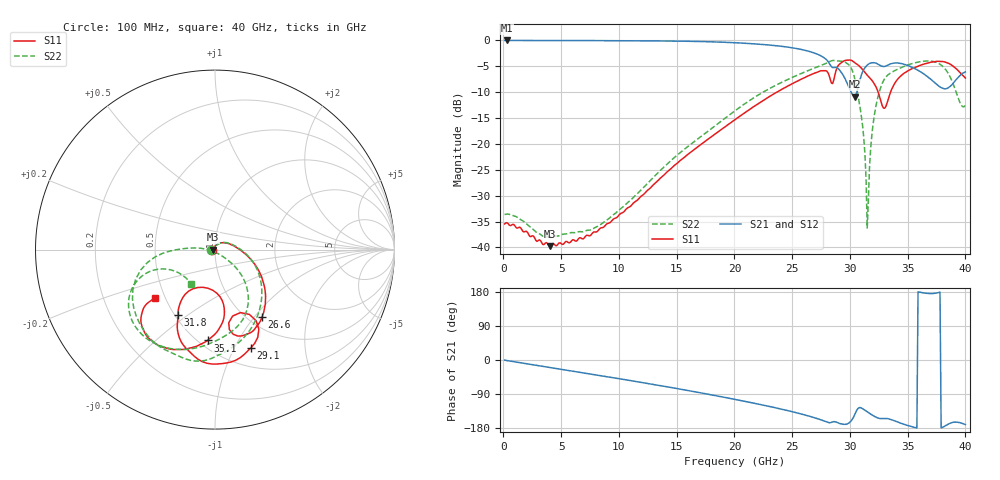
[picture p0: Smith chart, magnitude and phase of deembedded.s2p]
! BV_ts_refinout2: kisi-fdtd, 2-port, de-embedded with the 2×thru of each side (NZC with the outer ports
! referred to the line impedances 64.4 / 61.9 Ω, sparam.deembed_matched), the via between ideal 50 Ω lines
# Hz S RI R 50
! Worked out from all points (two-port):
!   400 points, 100 MHz to 40 GHz, reference 50 ohm
!   highest |S21| = -0.13 dB at 300 MHz (marker M1); lowest = -10.9 dB at 30.4 GHz (marker M2)
!   |S21| within 3 dB of the highest: start of sweep to 27.52 GHz
!   lowest |S11| = -39.7 dB at 4 GHz (marker M3), VSWR 1.02, Z = 49 + j0.0464 ohm
!   |S11| at or under -10 dB: start of sweep to 23.75 GHz; 32.43 GHz to 33.53 GHz (1.105 GHz wide, 3.35 % of centre)
!   |S22| runs from -38.1 to -4.0 dB; largest |S21 - S12| = 0.002
!   S11 on the Smith chart (normalised r, x): 100 MHz: 0.97, -0.00; 26.6 GHz: 1.15, -1.10; 29.1 GHz: 0.71, -1.17; 31.8 GHz: 0.52, -0.46; 35.1 GHz: 0.55, -0.76; 40 GHz: 0.44, -0.29
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1e8  -0.0168 -0.000384  0.9845 -0.00834  0.9843 -0.00816  -0.0208 0.000232
3e8  -0.0173 0.00061  0.9843 -0.0253  0.9845 -0.0251  -0.021 0.000449
4e9  -0.0103 0.000473  0.9264 -0.3276  0.9263 -0.3279  -0.0125 -0.0012
6.8e9  -0.0101 0.00667  0.8228 -0.5377  0.8226 -0.5377  -0.0128 0.00604
1.34e10  0.0261 0.0358  0.3861 -0.8943  0.3862 -0.8944  0.0362 0.0383
2.01e10  0.1699 -0.0248  -0.2303 -0.9069  -0.2301 -0.9069  0.2015 -0.0558
2.66e10  0.2609 -0.377  -0.6581 -0.3908  -0.6594 -0.3906  0.1598 -0.491
2.67e10  0.2581 -0.3858  -0.6592 -0.3778  -0.6597 -0.3766  0.1519 -0.4994
2.85e10  0.1418 -0.3511  -0.5186 -0.1535  -0.5206 -0.1531  -0.1101 -0.6211
2.91e10  0.2008 -0.5465  -0.4989 -0.1117  -0.5007 -0.1119  -0.2527 -0.5701
3.04e10  -0.1174 -0.5924  -0.2331 -0.1625  -0.2342 -0.1623  -0.4144 -0.1143
3.12e10  -0.2077 -0.4561  -0.3354 -0.3928  -0.3355 -0.3925  -0.1135 0.00933
3.14e10  -0.2102 -0.4211  -0.39 -0.395  -0.3899 -0.3948  -0.0451 0.00142
3.15e10  -0.209 -0.4056  -0.4149 -0.3909  -0.4145 -0.3908  -0.0125 -0.00899
3.18e10  -0.2065 -0.3664  -0.476 -0.3599  -0.4765 -0.3603  0.0699 -0.0573
3.24e10  -0.1803 -0.2685  -0.5202 -0.2672  -0.5206 -0.2681  0.1767 -0.2089
3.29e10  -0.0669 -0.2101  -0.499 -0.2382  -0.4981 -0.2389  0.168 -0.3646
3.34e10  0.04 -0.2836  -0.5267 -0.2396  -0.5258 -0.2388  0.0868 -0.4603
3.51e10  -0.0411 -0.5061  -0.557 -0.0618  -0.5572 -0.0619  -0.1538 -0.5554
3.79e10  -0.3515 -0.5085  -0.3463 -0.00437  -0.3472 -0.00369  -0.4819 -0.3066
3.9e10  -0.41 -0.3656  -0.3732 -0.1071  -0.3726 -0.1071  -0.3426 -0.1145
4e10  -0.332 -0.2701  -0.4836 -0.0825  -0.4853 -0.082  -0.1325 -0.1917
